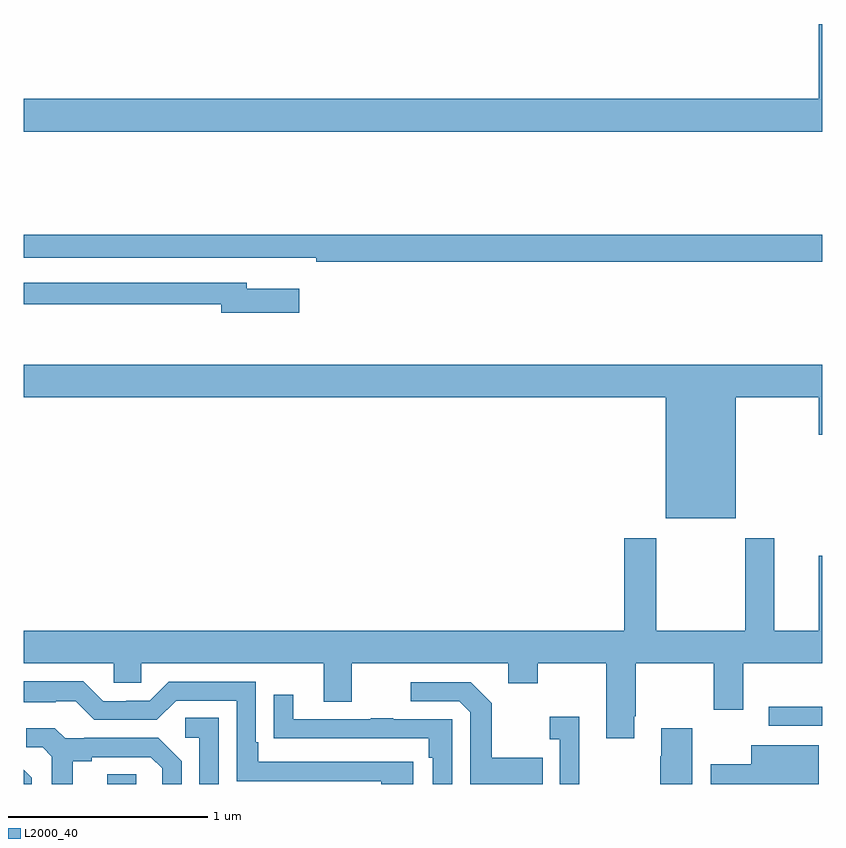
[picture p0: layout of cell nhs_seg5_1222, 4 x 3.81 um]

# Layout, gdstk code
import gdstk
lib = gdstk.Library(unit=1e-6, precision=1e-09)
def R(c, l, rs):  # rectangles x0, y0, x1, y1
    for r in rs: c.add(gdstk.rectangle(r[:2], r[2:], *l))
def P(c, l, *ps):  # polygons
    for p in ps: c.add(gdstk.Polygon(p, *l))
L2000_40 = (2000, 40)

nhs_seg5_1222 = lib.new_cell('nhs_seg5_1222')
R(nhs_seg5_1222, L2000_40, [(185.417,878.799,185.562,878.849), (188.733,879.09,189,879.186)])
P(nhs_seg5_1222, L2000_40, [(189,882.607),(188.984,882.607),(188.984,882.232),(185,882.232),(185,882.068),(189,882.068)],
  [(189,881.552),(185,881.552),(185,881.436),(186.214,881.436),(186.214,881.435),(186.466,881.435),(186.466,881.416),(189,881.416)],
  [(186.379,881.281),(186.118,881.281),(186.118,881.31),(185,881.31),(185,881.202),(185.99,881.202),(185.99,881.159),(186.379,881.159)],
  [(188.566,880.736),(188.984,880.736),(188.984,880.548),(189,880.548),(189,880.9),(185,880.9),(185,880.736),(188.216,880.736),(188.216,880.13),(188.566,880.13)],
  [(188.059,879.139),(188.067,879.139),(188.067,879.404),(188.458,879.404),(188.458,879.171),(188.605,879.171),(188.605,879.404),(189,879.404),(189,879.943),(188.984,879.943),(188.984,879.568),(188.761,879.568),(188.761,880.03),(188.614,880.03),(188.614,879.568),(188.169,879.568),(188.169,880.03),(188.009,880.03),(188.009,879.568),(185,879.568),(185,879.404),(185.451,879.404),(185.451,879.306),(185.589,879.306),(185.589,879.404),(186.503,879.404),(186.503,879.21),(186.643,879.21),(186.643,879.404),(187.427,879.404),(187.427,879.305),(187.575,879.305),(187.575,879.404),(187.919,879.404),(187.919,879.027),(188.059,879.027)],
  [(186.952,878.91),(186.175,878.91),(186.175,879.007),(186.162,879.007),(186.162,879.312),(185.727,879.312),(185.631,879.216),(185.513,879.216),(185.513,879.213),(185.397,879.213),(185.297,879.313),(185,879.313),(185,879.209),(185.159,879.209),(185.159,879.213),(185.259,879.213),(185.352,879.12),(185.667,879.12),(185.763,879.216),(186.066,879.216),(186.066,878.814),(186.791,878.814),(186.791,878.799),(186.952,878.799)],
  [(187.601,878.931),(187.345,878.931),(187.345,879.203),(187.239,879.309),(186.939,879.309),(186.939,879.213),(187.182,879.213),(187.236,879.159),(187.236,878.799),(187.601,878.799)],
  [(187.146,879.123),(186.851,879.123),(186.851,879.128),(186.739,879.128),(186.739,879.123),(186.349,879.123),(186.349,879.247),(186.253,879.247),(186.253,879.028),(186.355,879.028),(186.355,879.027),(187.03,879.027),(187.03,878.93),(187.05,878.93),(187.05,878.799),(187.146,878.799)],
  [(187.782,878.869),(187.783,878.869),(187.783,879.136),(187.635,879.136),(187.635,879.023),(187.686,879.023),(187.686,878.799),(187.782,878.799)],
  [(185.976,879.131),(185.808,879.131),(185.808,879.03),(185.88,879.03),(185.88,878.799),(185.976,878.799)],
  [(188.35,879.079),(188.195,879.079),(188.195,878.939),(188.188,878.939),(188.188,878.799),(188.35,878.799)],
  [(185.245,878.912),(185.341,878.912),(185.341,878.934),(185.636,878.934),(185.693,878.877),(185.693,878.799),(185.79,878.799),(185.79,878.914),(185.674,879.03),(185.302,879.03),(185.302,879.027),(185.208,879.027),(185.156,879.079),(185.013,879.079),(185.013,878.982),(185.094,878.982),(185.141,878.935),(185.141,878.799),(185.245,878.799)],
  [(188.983,878.992),(188.645,878.992),(188.645,878.899),(188.442,878.899),(188.442,878.799),(188.983,878.799)],
  [(185.04,878.83),(185,878.87),(185,878.799),(185.04,878.799)])

lib.write_gds('nhs_seg5_1222.gds')
